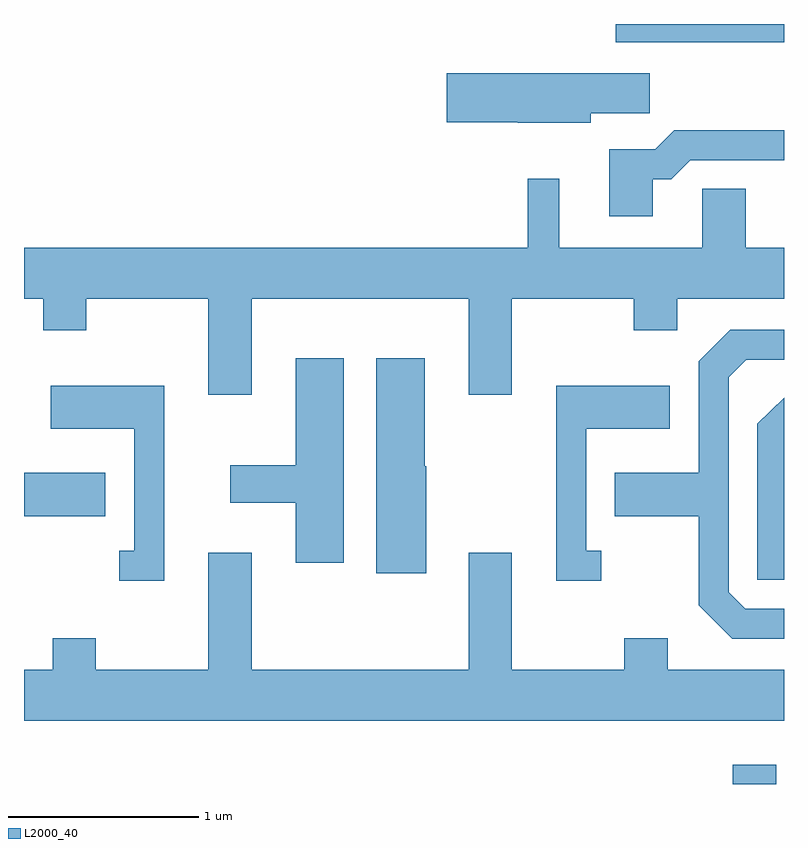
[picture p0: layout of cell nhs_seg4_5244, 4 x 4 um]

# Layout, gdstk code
import gdstk
lib = gdstk.Library(unit=1e-6, precision=1e-09)
def R(c, l, rs):  # rectangles x0, y0, x1, y1
    for r in rs: c.add(gdstk.rectangle(r[:2], r[2:], *l))
def P(c, l, *ps):  # polygons
    for p in ps: c.add(gdstk.Polygon(p, *l))
L2000_40 = (2000, 40)

nhs_seg4_5244 = lib.new_cell('nhs_seg4_5244')
R(nhs_seg4_5244, L2000_40, [(343.341,1269.982,343.569,1270.084), (339.611,1271.391,340.039,1271.619), (342.726,1273.886,343.611,1273.982)])
P(nhs_seg4_5244, L2000_40, [(342.594,1273.511),(342.904,1273.511),(342.904,1273.724),(341.836,1273.724),(341.836,1273.466),(342.21,1273.466),(342.21,1273.461),(342.594,1273.461)],
  [(342.919,1273.166),(343.017,1273.166),(343.117,1273.266),(343.611,1273.266),(343.611,1273.424),(343.034,1273.424),(342.934,1273.324),(342.691,1273.324),(342.691,1272.971),(342.919,1272.971)],
  [(340.809,1272.536),(341.951,1272.536),(341.951,1272.031),(342.179,1272.031),(342.179,1272.536),(342.821,1272.536),(342.821,1272.371),(343.049,1272.371),(343.049,1272.536),(343.611,1272.536),(343.611,1272.804),(343.409,1272.804),(343.409,1273.114),(343.181,1273.114),(343.181,1272.804),(342.429,1272.804),(342.429,1273.168),(342.261,1273.168),(342.261,1272.804),(339.611,1272.804),(339.611,1272.536),(339.711,1272.536),(339.711,1272.371),(339.939,1272.371),(339.939,1272.536),(340.581,1272.536),(340.581,1272.031),(340.809,1272.031)],
  [(343.611,1270.904),(343.407,1270.904),(343.319,1270.992),(343.319,1272.124),(343.412,1272.216),(343.611,1272.216),(343.611,1272.374),(343.329,1272.374),(343.161,1272.207),(343.161,1271.619),(342.721,1271.619),(342.721,1271.391),(343.161,1271.391),(343.161,1270.924),(343.339,1270.746),(343.611,1270.746)],
  [(341.729,1271.655),(341.719,1271.655),(341.719,1272.224),(341.466,1272.224),(341.466,1271.091),(341.729,1271.091)],
  [(341.294,1272.224),(341.041,1272.224),(341.041,1271.659),(340.696,1271.659),(340.696,1271.461),(341.041,1271.461),(341.041,1271.146),(341.294,1271.146)],
  [(342.648,1271.209),(342.569,1271.209),(342.569,1271.851),(343.009,1271.851),(343.009,1272.079),(342.411,1272.079),(342.411,1271.051),(342.648,1271.051)],
  [(340.349,1272.079),(339.751,1272.079),(339.751,1271.851),(340.191,1271.851),(340.191,1271.209),(340.113,1271.209),(340.113,1271.051),(340.349,1271.051)],
  [(343.611,1272.016),(343.471,1271.877),(343.471,1271.056),(343.611,1271.056)],
  [(343.611,1270.584),(342.999,1270.584),(342.999,1270.749),(342.771,1270.749),(342.771,1270.584),(342.179,1270.584),(342.179,1271.199),(341.951,1271.199),(341.951,1270.584),(340.809,1270.584),(340.809,1271.199),(340.581,1271.199),(340.581,1270.584),(339.989,1270.584),(339.989,1270.749),(339.761,1270.749),(339.761,1270.584),(339.611,1270.584),(339.611,1270.316),(343.611,1270.316)])

lib.write_gds('nhs_seg4_5244.gds')
